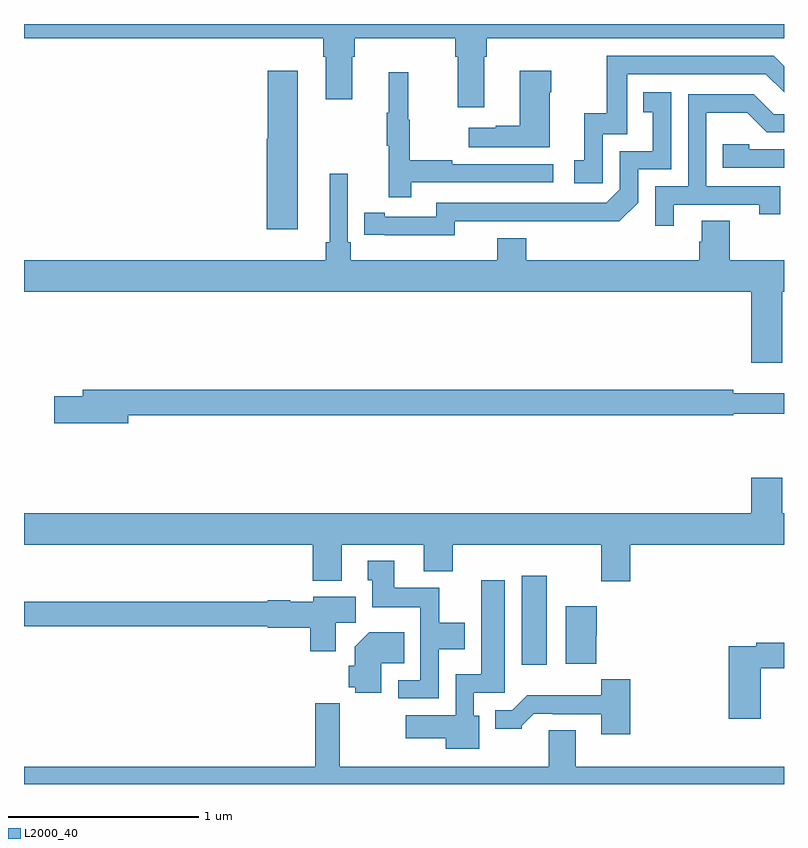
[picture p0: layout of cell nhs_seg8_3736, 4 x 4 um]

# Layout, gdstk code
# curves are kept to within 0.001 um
import gdstk
lib = gdstk.Library(unit=1e-6, precision=1e-09)
def R(c, l, rs):  # rectangles x0, y0, x1, y1
    for r in rs: c.add(gdstk.rectangle(r[:2], r[2:], *l))
def P(c, l, *ps):  # polygons
    for p in ps: c.add(gdstk.Polygon(p, *l))
L2000_40 = (2000, 40)

nhs_seg8_3736 = lib.new_cell('nhs_seg8_3736')
R(nhs_seg8_3736, L2000_40, [(343.619,1122.528,343.75,1122.997)])
P(nhs_seg8_3736, L2000_40, [(343.423,1125.728),(343.436,1125.728),(343.436,1125.824),(345,1125.824),(345,1125.9),(341,1125.9),(341,1125.824),(342.575,1125.824),(342.575,1125.728),(342.587,1125.728),(342.587,1125.504),(342.727,1125.504),(342.727,1125.728),(342.74,1125.728),(342.74,1125.824),(343.271,1125.824),(343.271,1125.728),(343.283,1125.728),(343.283,1125.462),(343.423,1125.462)],
  [(344.046,1125.321),(344.175,1125.321),(344.175,1125.636),(344.904,1125.636),(345,1125.54),(345,1125.678),(344.946,1125.732),(344.067,1125.732),(344.067,1125.43),(343.949,1125.43),(343.949,1125.183),(343.896,1125.183),(343.896,1125.063),(344.046,1125.063)],
  [(342.442,1125.655),(342.284,1125.655),(342.284,1125.297),(342.278,1125.297),(342.278,1124.82),(342.442,1124.82)],
  [(343.768,1125.542),(343.776,1125.542),(343.776,1125.655),(343.61,1125.655),(343.61,1125.365),(343.484,1125.365),(343.484,1125.355),(343.341,1125.355),(343.341,1125.251),(343.768,1125.251)],
  [(343.037,1125.066),(343.786,1125.066),(343.786,1125.162),(343.253,1125.162),(343.253,1125.182),(343.03,1125.182),(343.03,1125.396),(343.022,1125.396),(343.022,1125.646),(342.92,1125.646),(342.92,1125.433),(342.909,1125.433),(342.909,1125.259),(342.92,1125.259),(342.92,1124.988),(343.037,1124.988)],
  [(343.266,1124.862),(344.134,1124.861),(344.232,1124.958),(344.232,1125.135),(344.406,1125.135),(344.406,1125.541),(344.26,1125.541),(344.26,1125.435),(344.309,1125.435),(344.309,1125.231),(344.136,1125.231),(344.136,1125.03),(344.064,1124.958),(343.17,1124.958),(343.17,1124.886),(342.898,1124.886),(342.898,1124.906),(342.79,1124.906),(342.79,1124.79),(343.266,1124.789)],
  [(344.419,1124.949),(344.87,1124.949),(344.87,1124.898),(344.981,1124.898),(344.981,1125.045),(344.592,1125.045),(344.592,1125.434),(344.806,1125.434),(344.91,1125.33),(345,1125.33),(345,1125.426),(344.947,1125.426),(344.842,1125.531),(344.496,1125.531),(344.496,1125.045),(344.322,1125.045),(344.322,1124.838),(344.419,1124.838)],
  [(345,1125.24),(344.817,1125.24),(344.817,1125.267),(344.677,1125.267),(344.677,1125.144),(345,1125.144)],
  [(344.992,1124.492),(345,1124.492),(345,1124.656),(344.715,1124.656),(344.715,1124.864),(344.567,1124.864),(344.567,1124.754),(344.555,1124.754),(344.555,1124.656),(343.643,1124.656),(343.643,1124.773),(343.49,1124.773),(343.49,1124.656),(342.719,1124.656),(342.719,1124.752),(342.705,1124.752),(342.705,1125.112),(342.608,1125.112),(342.608,1124.752),(342.589,1124.752),(342.589,1124.656),(341,1124.656),(341,1124.492),(344.828,1124.492),(344.828,1124.118),(344.992,1124.118)],
  [(341.548,1123.84),(344.734,1123.84),(344.734,1123.848),(345,1123.848),(345,1123.957),(344.732,1123.957),(344.732,1123.976),(341.309,1123.976),(341.309,1123.94),(341.16,1123.94),(341.16,1123.798),(341.548,1123.798)],
  [(344.192,1123.16),(345,1123.16),(345,1123.324),(344.992,1123.324),(344.992,1123.513),(344.828,1123.513),(344.828,1123.324),(341,1123.324),(341,1123.16),(342.521,1123.16),(342.521,1122.971),(342.673,1122.971),(342.673,1123.16),(343.103,1123.16),(343.103,1123.019),(343.256,1123.019),(343.256,1123.16),(344.039,1123.16),(344.039,1122.966),(344.192,1122.966)],
  [(343.182,1122.608),(343.321,1122.608),(343.321,1122.748),(343.185,1122.748),(343.185,1122.934),(342.949,1122.934),(342.949,1123.075),(342.809,1123.075),(342.809,1122.972),(342.833,1122.972),(342.833,1122.83),(343.086,1122.83),(343.086,1122.447),(342.969,1122.447),(342.969,1122.351),(343.182,1122.351)],
  [(343.396,1122.258),(343.368,1122.258),(343.368,1122.381),(343.531,1122.381),(343.531,1122.973),(343.406,1122.973),(343.406,1122.478),(343.272,1122.478),(343.272,1122.262),(343.008,1122.262),(343.008,1122.14),(343.22,1122.14),(343.22,1122.086),(343.396,1122.086)],
  [(342.64,1122.748),(342.745,1122.748),(342.745,1122.886),(342.522,1122.886),(342.522,1122.859),(342.402,1122.859),(342.402,1122.867),(342.282,1122.867),(342.282,1122.859),(341,1122.859),(341,1122.73),(342.282,1122.73),(342.282,1122.722),(342.506,1122.722),(342.506,1122.6),(342.64,1122.6)],
  [(344.012,1122.681),(344.014,1122.681),(344.014,1122.835),(343.85,1122.835),(343.85,1122.533),(344.012,1122.533)],
  [(342.88,1122.536),(343.001,1122.536),(343.001,1122.7),(342.818,1122.7),(342.74,1122.622),(342.74,1122.522),(342.71,1122.522),(342.71,1122.408),(342.744,1122.408),(342.744,1122.379),(342.88,1122.379)],
  [(344.878,1122.508),(345,1122.508),(345,1122.644),(344.854,1122.644),(344.854,1122.624),(344.708,1122.624),(344.708,1122.243),(344.878,1122.243)],
  [(344.192,1122.451),(344.037,1122.451),(344.037,1122.367),(343.648,1122.367),(343.569,1122.288),(343.481,1122.288),(343.481,1122.191),(343.62,1122.191),(343.62,1122.206),(343.684,1122.27),(343.783,1122.27),(343.783,1122.267),(344.039,1122.267),(344.039,1122.162),(344.192,1122.162)],
  [(345,1121.992),(343.903,1121.992),(343.903,1122.182),(343.763,1122.182),(343.763,1121.992),(342.661,1121.992),(342.661,1122.325),(342.532,1122.325),(342.532,1121.992),(341,1121.992),(341,1121.9),(345,1121.9)])

lib.write_gds('nhs_seg8_3736.gds')
